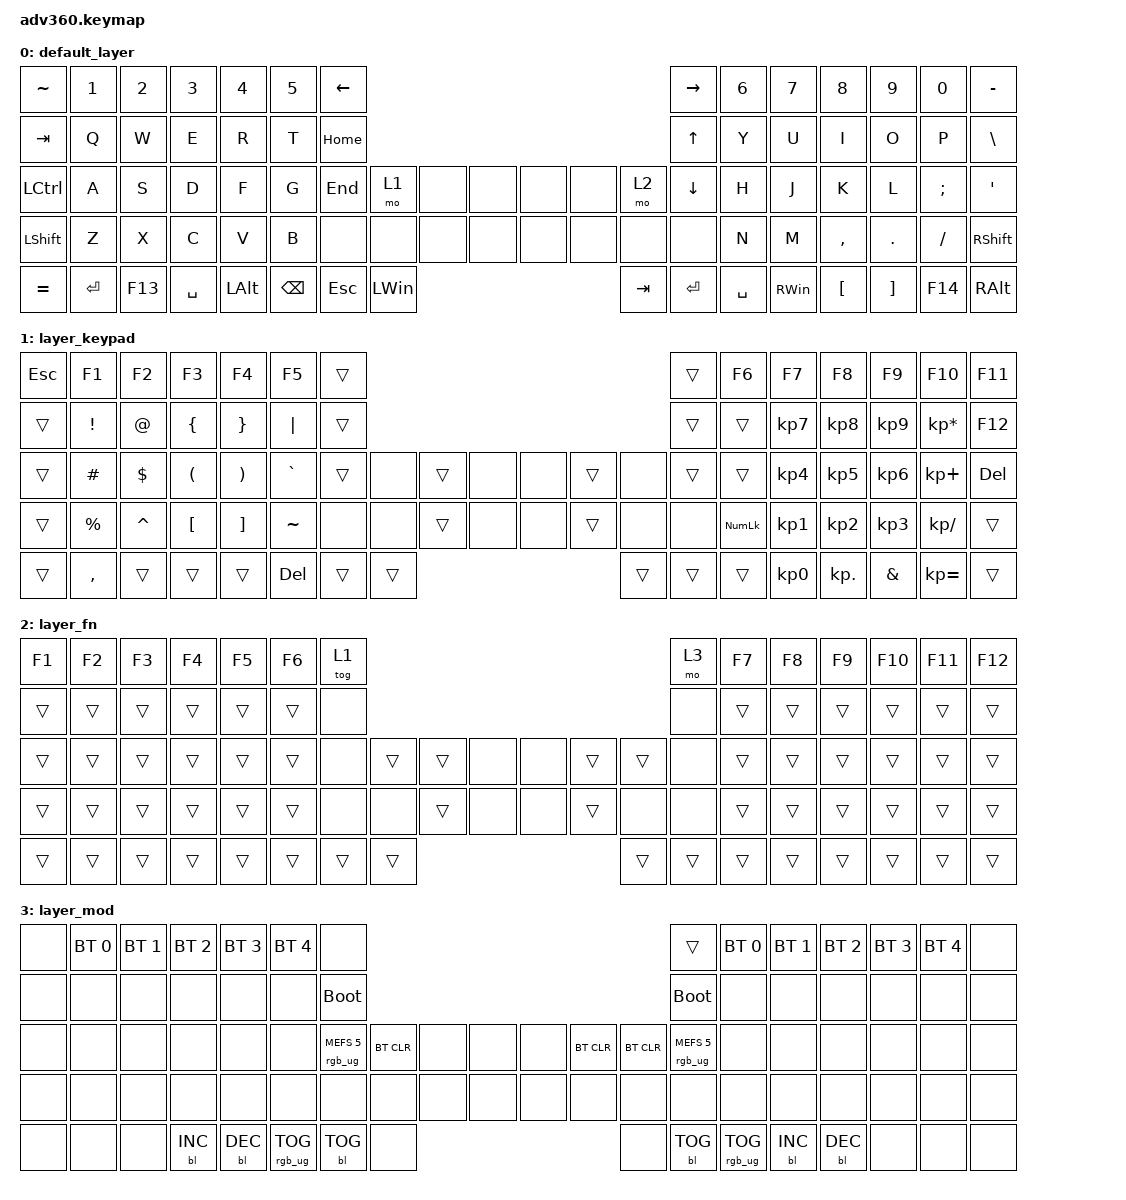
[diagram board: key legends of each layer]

/*
 * Copyright (c) 2020 The ZMK Contributors
 *
 * SPDX-License-Identifier: MIT
 */


/* THIS FILE WAS GENERATED!
 *
 * This file was generated automatically. You may or may not want to
 * edit it directly.
 */

#include <behaviors.dtsi>
#include <dt-bindings/zmk/keys.h>
#include <dt-bindings/zmk/bt.h>
#include <dt-bindings/zmk/rgb.h>
#include <dt-bindings/zmk/backlight.h>

/ {
  behaviors {
    #include "macros.dtsi"

    hm: homerow_mods {
        compatible = "zmk,behavior-hold-tap";
        label = "HOMEROW_MODS";
        #binding-cells = <2>;
        tapping-term-ms = <200>;
        quick_tap_ms = <175>;
        flavor = "tap-preferred";
        bindings = <&kp>, <&kp>;
    };
  };

    keymap {
        compatible = "zmk,keymap";


        default_layer {
            bindings = <
        &kp TILDE      &kp N1   &kp N2     &kp N3        &kp N4  &kp N5            &kp LEFT_ARROW                                                                &kp RIGHT_ARROW  &kp N6         &kp N7            &kp N8             &kp N9    &kp N0      &kp MINUS
          &kp TAB       &kp Q    &kp W      &kp E         &kp R   &kp T                  &kp HOME                                                                   &kp UP_ARROW   &kp Y          &kp U             &kp I              &kp O     &kp P       &kp BSLH
 &kp LEFT_CONTROL       &kp A    &kp S      &kp D         &kp F   &kp G                   &kp END       &mo 1         &none   &none   &none    &none      &mo 2   &kp DOWN_ARROW   &kp H          &kp J             &kp K              &kp L  &kp SEMI        &kp SQT
        &kp LSHFT       &kp Z    &kp X      &kp C         &kp V   &kp B                     &none       &none         &none   &none   &none    &none      &none            &none   &kp N          &kp M         &kp COMMA            &kp DOT  &kp FSLH      &kp RSHFT
        &kp EQUAL  &kp RETURN  &kp F13  &kp SPACE  &kp LEFT_ALT                          &kp BSPC  &kp ESCAPE  &kp LEFT_WIN                  &kp TAB  &kp ENTER        &kp SPACE          &kp RIGHT_WIN  &kp LEFT_BRACKET  &kp RIGHT_BRACKET   &kp F14  &kp RIGHT_ALT
            >;
        };

        layer_keypad {
            bindings = <
 &kp ESCAPE           &kp F1       &kp F2                &kp F3                 &kp F4     &kp F5                &trans                                                  &trans          &kp F6     &kp F7      &kp F8         &kp F9          &kp F10  &kp F11
     &trans  &kp EXCLAMATION  &kp AT_SIGN        &kp LEFT_BRACE        &kp RIGHT_BRACE   &kp PIPE                &trans                                                  &trans          &trans  &kp KP_N7   &kp KP_N8      &kp KP_N9  &kp KP_MULTIPLY  &kp F12
     &trans         &kp HASH   &kp DOLLAR  &kp LEFT_PARENTHESIS  &kp RIGHT_PARENTHESIS  &kp GRAVE                &trans   &none  &trans   &none   &none  &trans   &none  &trans          &trans  &kp KP_N4   &kp KP_N5      &kp KP_N6      &kp KP_PLUS  &kp DEL
     &trans      &kp PERCENT    &kp CARET      &kp LEFT_BRACKET      &kp RIGHT_BRACKET  &kp TILDE                 &none   &none  &trans   &none   &none  &trans   &none   &none  &kp KP_NUMLOCK  &kp KP_N1   &kp KP_N2      &kp KP_N3     &kp KP_SLASH   &trans
     &trans        &kp COMMA       &trans                &trans                 &trans                       &kp DELETE  &trans  &trans                  &trans  &trans  &trans                  &kp KP_N0  &kp KP_DOT  &kp AMPERSAND     &kp KP_EQUAL   &trans
            >;
        };

        layer_fn {
            bindings = <
 &kp F1  &kp F2  &kp F3  &kp F4  &kp F5  &kp F6            &tog 1                                                   &mo 3  &kp F7  &kp F8  &kp F9  &kp F10  &kp F11  &kp F12
 &trans  &trans  &trans  &trans  &trans  &trans             &none                                                   &none  &trans  &trans  &trans   &trans   &trans   &trans
 &trans  &trans  &trans  &trans  &trans  &trans             &none  &trans  &trans   &none   &none  &trans  &trans   &none  &trans  &trans  &trans   &trans   &trans   &trans
 &trans  &trans  &trans  &trans  &trans  &trans             &none   &none  &trans   &none   &none  &trans   &none   &none  &trans  &trans  &trans   &trans   &trans   &trans
 &trans  &trans  &trans  &trans  &trans                    &trans  &trans  &trans                  &trans  &trans  &trans          &trans  &trans   &trans   &trans   &trans
            >;
        };

        layer_mod {
            bindings = <
  &none  &bt BT_SEL 0  &bt BT_SEL 1  &bt BT_SEL 2  &bt BT_SEL 3  &bt BT_SEL 4                             &none                                                                              &trans  &bt BT_SEL 0  &bt BT_SEL 1  &bt BT_SEL 2  &bt BT_SEL 3  &bt BT_SEL 4   &none
  &none         &none         &none         &none         &none         &none                       &bootloader                                                                         &bootloader         &none         &none         &none         &none         &none   &none
  &none         &none         &none         &none         &none         &none            &rgb_ug RGB_MEFS_CMD 5  &bt BT_CLR   &none   &none   &none  &bt BT_CLR  &bt BT_CLR  &rgb_ug RGB_MEFS_CMD 5         &none         &none         &none         &none         &none   &none
  &none         &none         &none         &none         &none         &none                             &none       &none   &none   &none   &none       &none       &none                   &none         &none         &none         &none         &none         &none   &none
  &none         &none         &none    &bl BL_INC    &bl BL_DEC                                 &rgb_ug RGB_TOG  &bl BL_TOG   &none                       &none  &bl BL_TOG         &rgb_ug RGB_TOG                  &bl BL_INC    &bl BL_DEC         &none         &none   &none
            >;
        };

    };
};
